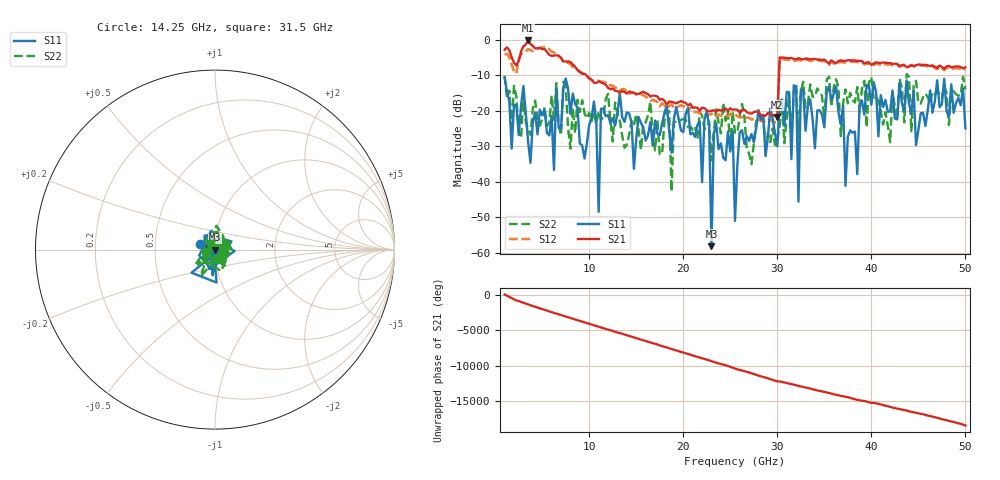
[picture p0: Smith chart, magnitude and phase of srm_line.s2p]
# GHz S RI R 50.0
!freq ReS11 ImS11 ReS21 ImS21 ReS12 ImS12 ReS22 ImS22
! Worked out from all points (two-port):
!   197 points, 1 GHz to 50 GHz, reference 50 ohm
!   highest |S21| = -0.21 dB at 3.5 GHz (marker M1); lowest = -21.7 dB at 30 GHz (marker M2)
!   |S21| within 3 dB of the highest: start of sweep to 1.533 GHz; 2.756 GHz to 5.424 GHz (2.668 GHz wide, 65.2 % of centre)
!   lowest |S11| = -58.1 dB at 23 GHz (marker M3), VSWR 1.00, Z = 50 - j0.123 ohm
!   |S11| at or under -10 dB: start of sweep to end of sweep
!   |S22| runs from -42.7 to -9.7 dB; largest |S21 - S12| = 1.5
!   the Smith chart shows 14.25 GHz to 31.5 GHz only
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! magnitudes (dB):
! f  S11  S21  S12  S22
! 1 GHz  -10.7  -2.8  -4.1  -10.1
! 3.5 GHz  -28.7  -0.2  -2.7  -25.3
! 9.25 GHz  -29.7  -9.6  -9.4  -17.0
! 10.5 GHz  -17.4  -12.1  -11.6  -20.3
! 11 GHz  -48.5  -11.7  -11.5  -20.2
! 11.25 GHz  -19.4  -12.0  -11.8  -22.6
! 17.5 GHz  -26.8  -16.9  -18.7  -32.3
! 22.5 GHz  -20.2  -19.9  -21.2  -24.8
! 23 GHz  -58.1  -20.0  -20.8  -34.0
! 23.5 GHz  -23.4  -20.3  -21.8  -19.6
! 25.25 GHz  -25.6  -19.7  -21.4  -20.4
! 25.5 GHz  -51.0  -19.6  -21.0  -26.2
! 26 GHz  -26.1  -20.5  -21.9  -21.4
! 30 GHz  -30.0  -21.7  -23.3  -28.4
! 32 GHz  -13.3  -5.5  -5.9  -12.4
! 32.25 GHz  -45.6  -5.2  -5.6  -27.4
! 32.5 GHz  -14.0  -5.4  -5.9  -14.7
! 33.75 GHz  -22.3  -5.4  -5.8  -16.1
! 36.25 GHz  -13.1  -6.6  -7.0  -11.1
! 37.25 GHz  -41.1  -6.0  -6.4  -14.0
! 42 GHz  -20.1  -6.6  -7.0  -28.8
! 50 GHz  -25.0  -7.8  -8.3  -14.0
